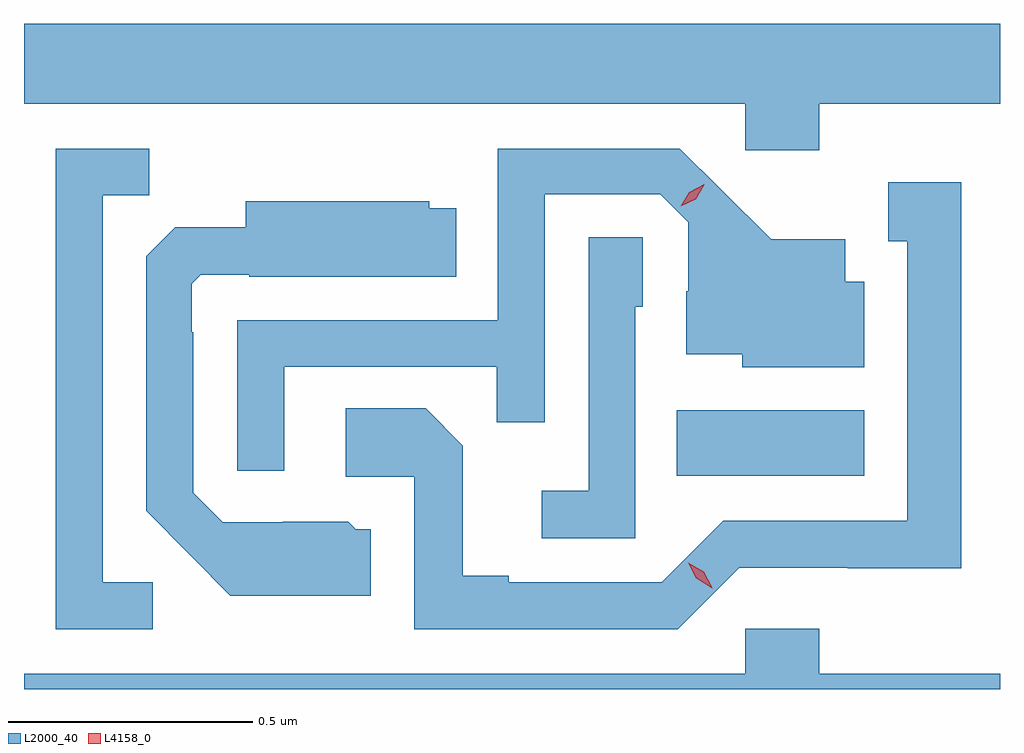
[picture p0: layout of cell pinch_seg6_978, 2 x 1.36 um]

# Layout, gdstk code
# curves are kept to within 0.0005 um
import gdstk
lib = gdstk.Library(unit=1e-6, precision=1e-09)
def R(c, l, rs):  # rectangles x0, y0, x1, y1
    for r in rs: c.add(gdstk.rectangle(r[:2], r[2:], *l))
def P(c, l, *ps):  # polygons
    for p in ps: c.add(gdstk.Polygon(p, *l))
L2000_40 = (2000, 40)
L4158_0 = (4158, 0)

pinch_seg6_978 = lib.new_cell('pinch_seg6_978')
R(pinch_seg6_978, L2000_40, [(335.614,939.914,335.998,940.048)])
P(pinch_seg6_978, L2000_40, [(335.906,940.676),(336.276,940.676),(336.276,940.84),(334.276,940.84),(334.276,940.676),(335.754,940.676),(335.754,940.581),(335.906,940.581)],
  [(334.809,940.137),(335.245,940.137),(335.245,940.024),(335.343,940.024),(335.343,940.491),(335.58,940.491),(335.637,940.434),(335.637,940.292),(335.633,940.292),(335.633,940.163),(335.748,940.163),(335.748,940.136),(335.998,940.136),(335.998,940.312),(335.959,940.312),(335.959,940.399),(335.807,940.399),(335.62,940.584),(335.247,940.584),(335.247,940.233),(334.713,940.233),(334.713,939.924),(334.809,939.924)],
  [(334.54,939.696),(334.437,939.696),(334.437,940.489),(334.533,940.489),(334.533,940.584),(334.341,940.584),(334.341,939.6),(334.54,939.6)],
  [(335.742,939.726),(335.964,939.726),(335.964,939.725),(336.197,939.725),(336.197,940.516),(336.047,940.516),(336.047,940.395),(336.086,940.395),(336.086,939.822),(335.709,939.822),(335.583,939.696),(335.269,939.696),(335.269,939.709),(335.175,939.709),(335.175,939.976),(335.099,940.052),(334.935,940.052),(334.935,939.912),(335.076,939.912),(335.076,939.6),(335.616,939.6)],
  [(334.987,939.804),(334.956,939.804),(334.94,939.82),(334.806,939.82),(334.806,939.819),(334.683,939.819),(334.623,939.879),(334.623,940.208),(334.62,940.208),(334.62,940.308),(334.638,940.326),(334.738,940.326),(334.738,940.322),(335.162,940.322),(335.162,940.462),(335.106,940.462),(335.106,940.477),(334.73,940.477),(334.73,940.423),(334.586,940.423),(334.527,940.364),(334.527,939.842),(334.699,939.668),(334.987,939.668)],
  [(335.529,940.26),(335.544,940.26),(335.544,940.403),(335.433,940.403),(335.433,939.883),(335.337,939.883),(335.337,939.786),(335.529,939.786)],
  [(336.276,939.508),(335.906,939.508),(335.906,939.601),(335.754,939.601),(335.754,939.508),(334.276,939.508),(334.276,939.477),(336.276,939.477)])
P(pinch_seg6_978, L4158_0, [(335.686,939.684),(335.654,939.704),(335.637,939.736),(335.637,939.736),(335.637,939.736),(335.669,939.717),(335.686,939.685),(335.686,939.684)],
  [(335.622,940.466),(335.622,940.466),(335.639,940.495),(335.67,940.511),(335.67,940.511),(335.67,940.51),(335.653,940.481),(335.622,940.466)])

lib.write_gds('pinch_seg6_978.gds')
